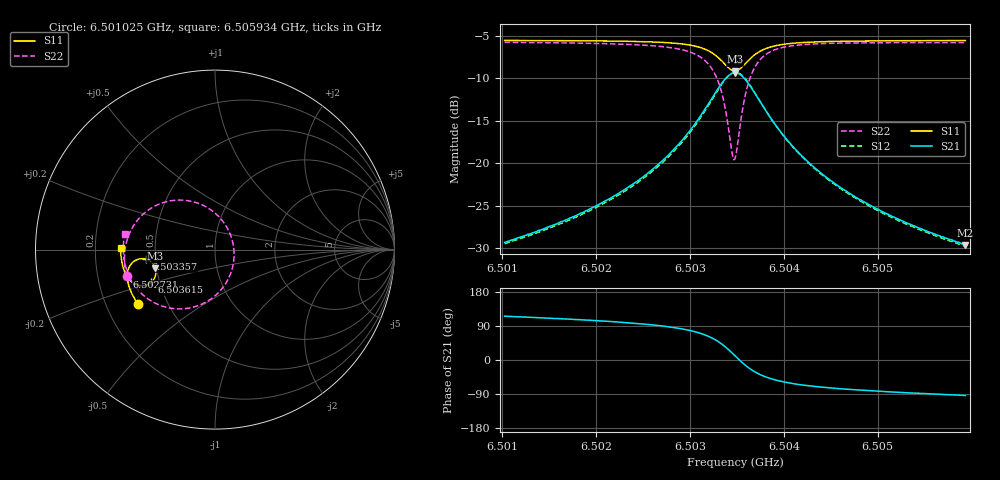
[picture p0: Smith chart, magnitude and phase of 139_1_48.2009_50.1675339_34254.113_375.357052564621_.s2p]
#  HZ  S  RI  R  50.00
! Rohde & Schwarz Vector Network Analyzer
! Rohde-Schwarz,ZNB20-2Port,1311601062101988,3.16
! Created: UTC 3/20/2024, 11:42:14 AM
! freq[Hz]  re:S11  im:S11  re:S21  im:S21  re:S12  im:S12  re:S22  im:S22
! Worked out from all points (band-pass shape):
!   401 points, 6.501025 GHz to 6.505934 GHz, reference 50 ohm
!   highest |S21| = -9.37 dB at 6.50348 GHz (marker M1); lowest = -29.6 dB at 6.505934 GHz (marker M2)
!   |S21| within 3 dB of the highest: 6.503234 GHz to 6.503725 GHz (491.1 kHz wide, 0.00755 % of centre)
!   lowest |S11| = -9.2 dB at 6.50348 GHz (marker M3), VSWR 2.07, Z = 24.6 - j5.82 ohm
!   |S11| at or under -10 dB: nowhere
!   |S22| runs from -19.6 to -5.8 dB; largest |S21 - S12| = 0.012
!   S11 on the Smith chart (normalised r, x): 6.501025 GHz: 0.34, -0.28; 6.502731 GHz: 0.33, -0.14; 6.503357 GHz: 0.44, -0.05; 6.503615 GHz: 0.45, -0.19; 6.505934 GHz: 0.31, +0.01
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6.5010251e9  -0.4297 -0.3042  -0.0148 0.031  -0.013 0.031  -0.4923 -0.1466
6.5018474e9  -0.4645 -0.2429  -0.0141 0.0492  -0.0117 0.0487  -0.5041 -0.0576
6.5023015e9  -0.4802 -0.202  -0.011 0.069  -0.00788 0.0679  -0.5001 0.0084
6.5026697e9  -0.4884 -0.1605  -0.00142 0.0993  0.00213 0.0968  -0.4792 0.0842
6.502731e9  -0.489 -0.1522  0.00163 0.1067  0.00543 0.1037  -0.4723 0.1004
6.502952e9  -0.4854 -0.117  0.0239 0.142  0.0276 0.1376  -0.4258 0.1715
6.5031115e9  -0.4707 -0.0848  0.0636 0.1782  0.0663 0.1723  -0.3486 0.2352
6.5032588e9  -0.4328 -0.0551  0.1455 0.2069  0.1463 0.2006  -0.1987 0.276
6.503357e9  -0.3861 -0.0524  0.2374 0.19  0.2376 0.1852  -0.0396 0.2323
6.5034429e9  -0.3432 -0.0818  0.3158 0.1149  0.3184 0.1104  0.0855 0.0839
6.5034674e9  -0.3351 -0.0961  0.3292 0.0827  0.3324 0.0776  0.1022 0.0235
6.5034797e9  -0.3324 -0.1039  0.3334 0.0659  0.3369 0.06  0.1059 -0.00821
6.5035043e9  -0.3295 -0.1202  0.3368 0.0312  0.3406 0.0241  0.1031 -0.0719
6.5035411e9  -0.3317 -0.1443  0.3293 -0.0192  0.3325 -0.0283  0.0752 -0.161
6.5036147e9  -0.3541 -0.1813  0.2822 -0.0956  0.2819 -0.1072  -0.0358 -0.284
6.5037252e9  -0.3998 -0.2013  0.195 -0.1408  0.1894 -0.1506  -0.2127 -0.3301
6.5038847e9  -0.447 -0.1918  0.1107 -0.1368  0.1037 -0.1419  -0.364 -0.281
6.5040565e9  -0.4749 -0.1704  0.0653 -0.1158  0.0588 -0.118  -0.4378 -0.2141
6.504302e9  -0.4959 -0.1405  0.0347 -0.0905  0.0296 -0.0909  -0.4818 -0.1403
6.5046948e9  -0.5122 -0.0991  0.0144 -0.0653  0.011 -0.0649  -0.5053 -0.0604
6.5051243e9  -0.5209 -0.0591  0.00511 -0.0493  0.00275 -0.0487  -0.511 0.00125
6.5059343e9  -0.5259 0.00976  -0.0021 -0.0331  -0.00345 -0.0324  -0.5032 0.0885
